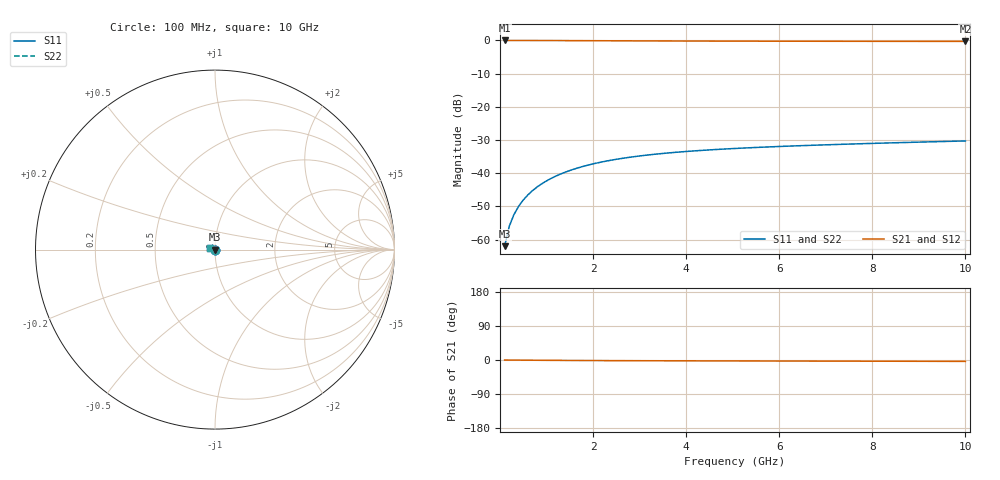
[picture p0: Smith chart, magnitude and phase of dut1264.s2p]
! Touchstone file exported from HFSS 2024.1.0
!  File:  C:/UserFiles/LocalFiles/RDL_TSV_Batchsim/temp_TSV1_1264_1780253822.aedt
!  Generated:  03:01:44 AM Jun  1, 2026
!  Design:  TSV1
!  Project:  temp_TSV1_1264_1780253822
!  Setup:  Setup1
!  Solution:  Sweep
! Variables:
!  dtsv = 10.01um
!  hbump = 3um
!  htsv = 52.61um
!  lrdl = 252.1521522um
!  p = 40
!  p1 = 53.81um
!  t = 500um
!  trdl = 3um
!  wrdl = 24.89489489um
# GHz S MA R 50.000000
! Terminal data exported
! Port[1] = TSV22_T1
! Port[2] = TSV22_T2
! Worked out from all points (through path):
!   100 points, 100 MHz to 10 GHz, reference 50 ohm
!   highest |S21| = 0.00 dB at 100 MHz (marker M1); lowest = -0.3 dB at 10 GHz (marker M2)
!   lowest |S11| = -62.0 dB at 100 MHz (marker M3), VSWR 1.00, Z = 50 - j0.0794 ohm
!   |S11| at or under -10 dB: start of sweep to end of sweep
!   |S22| runs from -62.0 to -30.3 dB; largest |S21 - S12| = 3.7e-15
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0.1  0.0007989 -83.9  0.9999 -0.1  0.9999 -0.1  0.0007989 -83.9
! Gamma 0 0 0 0
! Port Impedance 50 0 50 0
0.2  0.00159 -89.8  0.9998 -0.2  0.9998 -0.2  0.00159 -89.8
0.3  0.002383 -93.1  0.9996 -0.3  0.9996 -0.3  0.002383 -93.1
0.4  0.003171 -95.9  0.9994 -0.3  0.9994 -0.3  0.003171 -95.9
0.5  0.003952 -98.3  0.9991 -0.4  0.9991 -0.4  0.003952 -98.3
0.6  0.004723 -100.7  0.9988 -0.5  0.9988 -0.5  0.004723 -100.7
0.7  0.005483 -102.9  0.9985 -0.6  0.9985 -0.6  0.005483 -102.9
0.8  0.00623 -105.0  0.9981 -0.7  0.9981 -0.7  0.00623 -105.0
0.9  0.006962 -107.1  0.9976 -0.8  0.9976 -0.8  0.006962 -107.1
1.1  0.008379 -111.1  0.9966 -0.9  0.9966 -0.9  0.008379 -111.1
1.4  0.01037 -116.8  0.995 -1.1  0.995 -1.1  0.01037 -116.8
1.6  0.01161 -120.4  0.9937 -1.2  0.9937 -1.2  0.01161 -120.4
1.8  0.01277 -123.9  0.9925 -1.4  0.9925 -1.4  0.01277 -123.9
2.1  0.01436 -128.8  0.9906 -1.5  0.9906 -1.5  0.01436 -128.8
2.5  0.01624 -134.8  0.9881 -1.7  0.9881 -1.7  0.01624 -134.8
2.9  0.01786 -140.4  0.9858 -1.8  0.9858 -1.8  0.01786 -140.4
3.4  0.01958 -146.6  0.9831 -2.0  0.9831 -2.0  0.01958 -146.6
4.2  0.02179 -155.3  0.9796 -2.2  0.9796 -2.2  0.02179 -155.3
5.1  0.02373 -163.6  0.9765 -2.5  0.9765 -2.5  0.02373 -163.6
6.7  0.02639 -175.5  0.9726 -2.9  0.9726 -2.9  0.02639 -175.5
8.4  0.02869 174.3  0.97 -3.3  0.97 -3.3  0.02869 174.3
10  0.03068 166.3  0.9683 -3.7  0.9683 -3.7  0.03068 166.3
